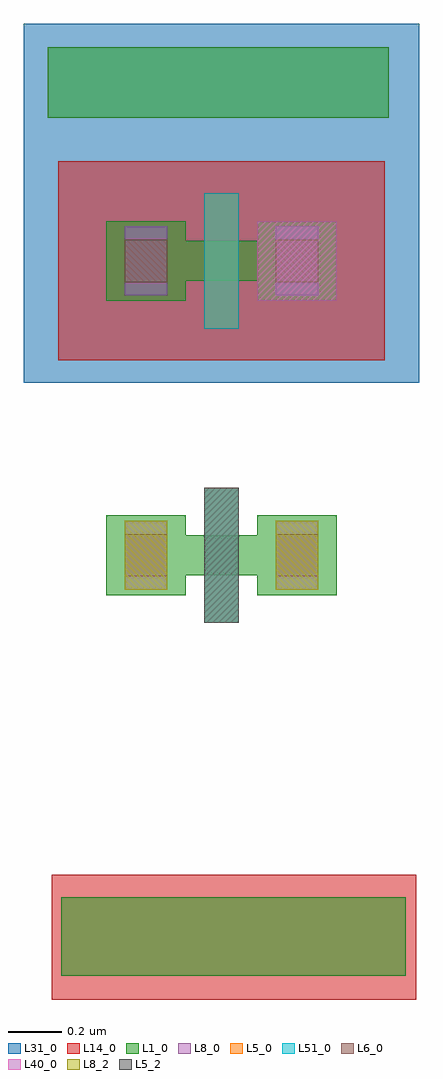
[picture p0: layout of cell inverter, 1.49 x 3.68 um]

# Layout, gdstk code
import gdstk
lib = gdstk.Library(unit=1e-6, precision=5e-09)
def R(c, l, rs):  # rectangles x0, y0, x1, y1
    for r in rs: c.add(gdstk.rectangle(r[:2], r[2:], *l))
L1_0 = (1, 0)
L5_0 = (5, 0)
L5_2 = (5, 2)
L6_0 = (6, 0)
L8_0 = (8, 0)
L8_2 = (8, 2)
L14_0 = (14, 0)
L31_0 = (31, 0)
L40_0 = (40, 0)
L51_0 = (51, 0)

nmos_1 = lib.new_cell('nmos$1')
R(nmos_1, L1_0, [(0,0,0.3,0.3), (0.57,0,0.87,0.3), (0,0.075,0.87,0.225)])
R(nmos_1, L5_0, [(0.37,-0.105,0.5,0.405)])
R(nmos_1, L5_2, [(0.37,-0.105,0.5,0.405)])
R(nmos_1, L6_0, [(0.07,0.07,0.23,0.23), (0.64,0.07,0.8,0.23)])
R(nmos_1, L8_0, [(0.07,0.02,0.23,0.28), (0.64,0.02,0.8,0.28)])
R(nmos_1, L8_2, [(0.07,0.02,0.23,0.28), (0.64,0.02,0.8,0.28)])
R(nmos_1, L51_0, [(0.37,-0.105,0.5,0.405)])
nmos_1.add(gdstk.Label('nmos', (0.435,0.15), layer=63, texttype=0))
nmos_1.add(gdstk.Label('nmos', (0.435,0.15), layer=51, texttype=0))

pmos = lib.new_cell('pmos')
R(pmos, L1_0, [(0,0,0.3,0.3), (0.57,0,0.87,0.3), (0,0.075,0.87,0.225)])
R(pmos, L5_0, [(0.37,-0.105,0.5,0.405), (0.37,-0.105,0.5,0.405)])
R(pmos, L6_0, [(0.07,0.07,0.23,0.23), (0.64,0.07,0.8,0.23)])
R(pmos, L8_0, [(0.07,0.02,0.23,0.28), (0.07,0.02,0.23,0.28), (0.64,0.02,0.8,0.28), (0.64,0.02,0.8,0.28)])
R(pmos, L14_0, [(-0.18,-0.225,1.05,0.525)])
R(pmos, L31_0, [(-0.31,-0.31,1.18,0.61)])
R(pmos, L40_0, [(0.57,0,0.87,0.3)])
R(pmos, L51_0, [(0.37,-0.105,0.5,0.405)])
pmos.add(gdstk.Label('pmos', (0.435,0.15), layer=63, texttype=0))
pmos.add(gdstk.Label('pmos', (0.435,0.15), layer=51, texttype=0))

inverter = lib.new_cell('inverter')
R(inverter, L1_0, [(-0.015,-1.635,1.285,-1.34), (-0.065,1.6,1.22,1.865)])
R(inverter, L14_0, [(-0.05,-1.725,1.325,-1.255)])
R(inverter, L31_0, [(-0.155,1.52,1.335,1.955)])
inverter.add(gdstk.Reference(nmos_1, (0.155,-0.2)))
inverter.add(gdstk.Reference(pmos, (0.155,0.91)))

lib.write_gds('inverter.gds')
